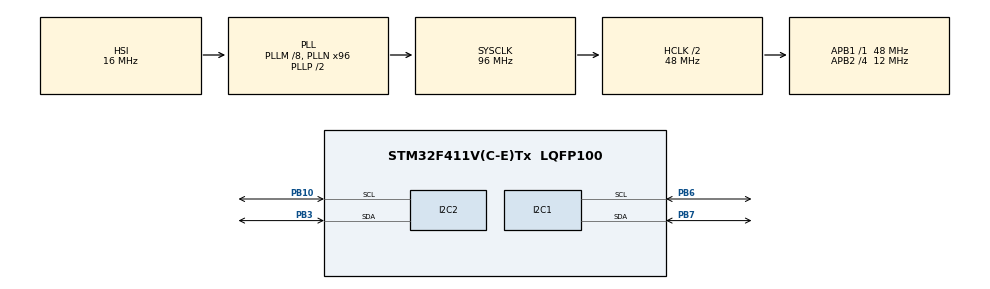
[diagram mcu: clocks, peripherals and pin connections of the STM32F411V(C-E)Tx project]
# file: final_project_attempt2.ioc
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I2C1.I2C_Mode=I2C_Fast
I2C2.I2C_Mode=I2C_Fast
Mcu.Family=STM32F4
Mcu.Name=STM32F411V(C-E)Tx
Mcu.Package=LQFP100
NVIC.PriorityGroup=NVIC_PRIORITYGROUP_4
PA13.Mode=Serial_Wire
PA13.Signal=SYS_JTMS-SWDIO
PA14.Mode=Serial_Wire
PA14.Signal=SYS_JTCK-SWCLK
PB10.Mode=I2C
PB10.Signal=I2C2_SCL
PB3.Mode=I2C
PB3.Signal=I2C2_SDA
PB6.Mode=I2C
PB6.Signal=I2C1_SCL
PB7.Mode=I2C
PB7.Signal=I2C1_SDA
PC14-OSC32_IN.Mode=LSE-External-Oscillator
PC14-OSC32_IN.Signal=RCC_OSC32_IN
PC15-OSC32_OUT.Mode=LSE-External-Oscillator
PC15-OSC32_OUT.Signal=RCC_OSC32_OUT
PH0\ -\ OSC_IN.Mode=HSE-External-Oscillator
PH0\ -\ OSC_IN.Signal=RCC_OSC_IN
PH1\ -\ OSC_OUT.Mode=HSE-External-Oscillator
PH1\ -\ OSC_OUT.Signal=RCC_OSC_OUT
ProjectManager.HeapSize=0x200
ProjectManager.StackSize=0x400
ProjectManager.TargetToolchain=STM32CubeIDE
RCC.48MHZClocksFreq_Value=48000000
RCC.AHBCLKDivider=RCC_SYSCLK_DIV2
RCC.AHBFreq_Value=48000000
RCC.APB1Freq_Value=48000000
RCC.APB1TimFreq_Value=48000000
RCC.APB2CLKDivider=RCC_HCLK_DIV4
RCC.APB2Freq_Value=12000000
RCC.APB2TimFreq_Value=24000000
RCC.CortexFreq_Value=48000000
RCC.HCLKFreq_Value=48000000
RCC.HSE_VALUE=25000000
RCC.HSI_VALUE=16000000
RCC.PLLM=8
RCC.PLLN=96
RCC.SYSCLKFreq_VALUE=96000000
RCC.SYSCLKSource=RCC_SYSCLKSOURCE_PLLCLK
RCC.VCOOutputFreq_Value=192000000
board=custom

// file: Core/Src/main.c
/* USER CODE BEGIN Header */
/**
  ******************************************************************************
  * @file           : main.c
  * @brief          : Main program body
  ******************************************************************************
  * @attention
  *
  * Copyright (c) .
  * All rights reserved.
  *
  * This software is licensed under terms that can be found in the LICENSE file
  * in the root directory of this software component.
  * If no LICENSE file comes with this software, it is provided AS-IS.
  *
 * ******************************************************************************
	* PROJECT: SMART FAN CONTROL SYSTEM
	* AUTHOR:  ISHA SHARMA
	* COURSE:  EMBEDDED SYSTEMS DESIGN SP'23
	* TOOLS:   STMCUBEIDE
	* DATE:    06-05-2023
	* FILE:    main.c
	* BRIEF:   This is the main.c
	*
	* ******************************************************************************
	*
	* References used for the project:
	* [1] https://www.youtube.com/watch?v=M5ddTjrcvEs&t=54s
	* [2] https://microcontrollerslab.com/dc-motor-l293d-motor-driver-ic-arduino-tutorial/
	* [3] https://microcontrollerslab.com/l293d-motor-driver-ic-introduction-pinouts-example/
	* [4] https://www.youtube.com/watch?v=4jcxeJxvi3Y
	* [5] https://www.ti.com/lit/ds/symlink/ads1115.pdf
	* [6] https://www.digikey.com/htmldatasheets/production/2047793/0/0/1/SSD1306.pdf
	* [7] https://thecodeprogram.com/ads1115-with-stm32-cubemx
	* [8] https://cdn-shop.adafruit.com/datasheets/l293d.pdf
	* [9] STM32F411VE Datasheet, Reference manual, and User Manuals
	* [10] https://www.thomasnet.com/articles/instruments-controls/types-of-motor-controllers-and-drives/
	* [11] https://microcontrollerslab.com/analog-to-digital-adc-converter-working/
	* [12] https://deepbluembedded.com/stm32-pwm-example-timer-pwm-mode-tutorial/
	* [13] https://deepbluembedded.com/?s=dc+motor
	* [14] https://controllerstech.com/oled-display-using-i2c-stm32/
	* [15] Professor, TAs and CLassmates
	*
	*
	*
 */
/* USER CODE END Header */
#include "main.h"

/* USER CODE BEGIN Includes */
#include "fonts.h"
#include "ssd1306.h"
#include "dcmotor.h"
#include "led.h"
/* USER CODE END Includes */

I2C_HandleTypeDef hi2c1;
I2C_HandleTypeDef hi2c2;

void SystemClock_Config(void);
static void MX_GPIO_Init(void);
static void MX_I2C1_Init(void);
static void MX_I2C2_Init(void);

/* USER CODE BEGIN 0 */
#define SLAVE_ADDRESS 0x48 //SLAVE ADDRESS FOR I2C SLAVE 1001000

/* Variables*/
unsigned char ADCwrite[6]; //buffer to write to pointer register
int16_t reading_from_pot; //variable for raw reading of pot
float voltage_from_pot; //variable for converted voltage value from the raw reading
const float voltage_conversion = 6.114 / 32768.0; //PGA FOR MORE THAN 4 WAS 6.114, FOR BITS X2
uint32_t duty_cycle; //variable to determine duty cycle for pwm

/* USER CODE END 0 */

int main(void)
{

  /* MCU Configuration--------------------------------------------------------*/

  /* Reset of all peripherals, Initializes the Flash interface and the Systick. */
  HAL_Init();

  /* Configure the system clock */
  SystemClock_Config();

  /* Initialize all configured peripherals */
  MX_GPIO_Init();
  MX_I2C1_Init();
  MX_I2C2_Init();
  /* USER CODE BEGIN 2 */

  /* initialse pwm, motor direction pins, led and ssd1306 */
  init_gpio_pwmpin();
  init_pwm_timer();
  init_motor_pins();
  init_led();
  SSD1306_Init(); //initialising display

  //display startup message and led startup sequence
  SSD1306_GotoXY(0,0);
  SSD1306_Puts("SMART FAN",&Font_11x18,1);
  SSD1306_GotoXY(0,30);
  SSD1306_Puts("CONTROL SYSTEM",&Font_11x18,1);
  SSD1306_UpdateScreen(); //update display on OLED

  GPIOA->BSRR |= LED_BSRR_ON;
  HAL_Delay(500);
  GPIOA->BSRR |= LED_BSRR_OFF;
  HAL_Delay(500);
  GPIOA->BSRR |= LED_BSRR_ON;
  HAL_Delay(500);
  GPIOA->BSRR |= LED_BSRR_OFF;

  SSD1306_ScrollRight(0x00,0x0f); //scroll right entire screen using pages
  HAL_Delay(2000); //2 sec

  SSD1306_ScrollLeft(0x00,0x0f); //scroll left entire screen using pages
  HAL_Delay(2000); //2 sec

  SSD1306_Stopscroll();
  SSD1306_Clear();

  /* USER CODE END 2 */

  /* Infinite loop */
  while (1)
  {

    /* USER CODE BEGIN 3 */

	  //SET CONFIG REG AND CONVERSION REG OF ADC
	  ADCwrite[0] = 0x01; // CONVERION REG=00, CONFIG REG =01
	  ADCwrite[1]=0xC1; //REGISTER FIELDS: os-1,mux-100,pga,000,mode-1 (11000001) msbs
	  ADCwrite[2]= 0x83; // REGISTER FIELDS: dr-default-100,comp-alldefault 00011 (10000011)
	  HAL_I2C_Master_Transmit(&hi2c2,SLAVE_ADDRESS<<1,ADCwrite,3,100); //hal I2C transmit with timeout=100ms

	  //retrieve data from conversion reg
	  ADCwrite[0] = 0x00; // CONVERION REG=00, CONFIG REG =01
	  HAL_I2C_Master_Transmit(&hi2c2,SLAVE_ADDRESS<<1,ADCwrite,1,100); //hal I2C transmit with timeout=100ms
	  HAL_Delay(20);
	  HAL_I2C_Master_Receive(&hi2c2,SLAVE_ADDRESS<<1,ADCwrite,2,100); //hal I2C receive with timeout=100ms

	  //conversion to voltage, TAKING 8 BITS SHIFTING, OTHER sequentially
	  reading_from_pot = (ADCwrite[0]<<8 | ADCwrite[1]);
	  if (reading_from_pot<0)
	  {
		  reading_from_pot=0;// truncating the negative values just incase
	  }

	  //converted voltage value
	  voltage_from_pot = reading_from_pot * voltage_conversion; //MAX VALUE 4.75, MIN VALUE 0.0

	  //pwm duty cycle updation
	  duty_cycle = (uint32_t)(voltage_from_pot * 1000 / 4.75);
	  TIM4->CCR4 = duty_cycle;

	  if(voltage_from_pot>0.2)
	  {
		    GPIOA->BSRR |= LED_BSRR_ON; //fan on
	  }
	  else
	  {
		    GPIOA->BSRR |= LED_BSRR_OFF; //fan off
	  }

	  if((voltage_from_pot>2.5)&&(voltage_from_pot<4.5))
	  {
		    SSD1306_GotoXY(0,0);
		    SSD1306_Puts("SPEED: 2",&Font_11x18,1);
		    SSD1306_UpdateScreen(); //update display on OLED
		    HAL_Delay(500);
		    SSD1306_Clear();

	  }
	  else if(voltage_from_pot>4.5)
	  {
		    SSD1306_GotoXY(0,0);
		    SSD1306_Puts("MAX SPEED",&Font_11x18,1);
		    SSD1306_UpdateScreen(); //update display on OLED
		    HAL_Delay(500);
		    SSD1306_Clear();

	  }
	  else if((voltage_from_pot>0.2)&&(voltage_from_pot<2.5))
	  {
		    SSD1306_GotoXY(0,0);
		    SSD1306_Puts("SPEED: 1",&Font_11x18,1);
		    SSD1306_UpdateScreen(); //update display on OLED
		    HAL_Delay(500);
		    SSD1306_Clear();
	  }
	  else
	  {
		    SSD1306_GotoXY(0,0);
		    SSD1306_Puts("FAN OFF",&Font_11x18,1);
		    SSD1306_UpdateScreen(); //update display on OLED
		    HAL_Delay(500);
		    SSD1306_Clear();

	  }

  }
  /* USER CODE END 3 */
}

void SystemClock_Config(void)
{
  RCC_OscInitTypeDef RCC_OscInitStruct = {0};
  RCC_ClkInitTypeDef RCC_ClkInitStruct = {0};

  /** Configure the main internal regulator output voltage
  */
  __HAL_RCC_PWR_CLK_ENABLE();
  __HAL_PWR_VOLTAGESCALING_CONFIG(PWR_REGULATOR_VOLTAGE_SCALE1);

  /** Initializes the RCC Oscillators according to the specified parameters
  * in the RCC_OscInitTypeDef structure.
  */
  RCC_OscInitStruct.OscillatorType = RCC_OSCILLATORTYPE_HSI;
  RCC_OscInitStruct.HSIState = RCC_HSI_ON;
  RCC_OscInitStruct.HSICalibrationValue = RCC_HSICALIBRATION_DEFAULT;
  RCC_OscInitStruct.PLL.PLLState = RCC_PLL_ON;
  RCC_OscInitStruct.PLL.PLLSource = RCC_PLLSOURCE_HSI;
  RCC_OscInitStruct.PLL.PLLM = 8;
  RCC_OscInitStruct.PLL.PLLN = 96;
  RCC_OscInitStruct.PLL.PLLP = RCC_PLLP_DIV2;
  RCC_OscInitStruct.PLL.PLLQ = 4;
  if (HAL_RCC_OscConfig(&RCC_OscInitStruct) != HAL_OK)
  {
    Error_Handler();
  }

  /** Initializes the CPU, AHB and APB buses clocks
  */
  RCC_ClkInitStruct.ClockType = RCC_CLOCKTYPE_HCLK|RCC_CLOCKTYPE_SYSCLK
                              |RCC_CLOCKTYPE_PCLK1|RCC_CLOCKTYPE_PCLK2;
  RCC_ClkInitStruct.SYSCLKSource = RCC_SYSCLKSOURCE_PLLCLK;
  RCC_ClkInitStruct.AHBCLKDivider = RCC_SYSCLK_DIV2;
  RCC_ClkInitStruct.APB1CLKDivider = RCC_HCLK_DIV1;
  RCC_ClkInitStruct.APB2CLKDivider = RCC_HCLK_DIV4;

  if (HAL_RCC_ClockConfig(&RCC_ClkInitStruct, FLASH_LATENCY_1) != HAL_OK)
  {
    Error_Handler();
  }
}

static void MX_I2C1_Init(void)
{

  hi2c1.Instance = I2C1;
  hi2c1.Init.ClockSpeed = 400000;
  hi2c1.Init.DutyCycle = I2C_DUTYCYCLE_2;
  hi2c1.Init.OwnAddress1 = 0;
  hi2c1.Init.AddressingMode = I2C_ADDRESSINGMODE_7BIT;
  hi2c1.Init.DualAddressMode = I2C_DUALADDRESS_DISABLE;
  hi2c1.Init.OwnAddress2 = 0;
  hi2c1.Init.GeneralCallMode = I2C_GENERALCALL_DISABLE;
  hi2c1.Init.NoStretchMode = I2C_NOSTRETCH_DISABLE;
  if (HAL_I2C_Init(&hi2c1) != HAL_OK)
  {
    Error_Handler();
  }

}

static void MX_I2C2_Init(void)
{

  hi2c2.Instance = I2C2;
  hi2c2.Init.ClockSpeed = 400000;
  hi2c2.Init.DutyCycle = I2C_DUTYCYCLE_2;
  hi2c2.Init.OwnAddress1 = 0;
  hi2c2.Init.AddressingMode = I2C_ADDRESSINGMODE_7BIT;
  hi2c2.Init.DualAddressMode = I2C_DUALADDRESS_DISABLE;
  hi2c2.Init.OwnAddress2 = 0;
  hi2c2.Init.GeneralCallMode = I2C_GENERALCALL_DISABLE;
  hi2c2.Init.NoStretchMode = I2C_NOSTRETCH_DISABLE;
  if (HAL_I2C_Init(&hi2c2) != HAL_OK)
  {
    Error_Handler();
  }

}

static void MX_GPIO_Init(void)
{

  /* GPIO Ports Clock Enable */
  __HAL_RCC_GPIOC_CLK_ENABLE();
  __HAL_RCC_GPIOH_CLK_ENABLE();
  __HAL_RCC_GPIOB_CLK_ENABLE();
  __HAL_RCC_GPIOA_CLK_ENABLE();

}

void Error_Handler(void)
{
  __disable_irq();
  while (1)
  {
  }
}
